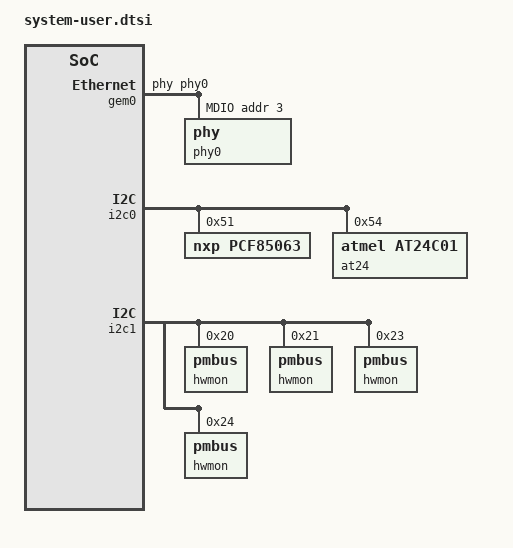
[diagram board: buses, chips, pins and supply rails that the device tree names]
/include/ "system-conf.dtsi"
/ {
};
/{
  chosen {
          bootargs = "console=ttyPS0,115200 earlyprintk root=/dev/mmcblk0p2 rw rootwait uio_pdrv_genirq.of_id=\"generic-uio\"";
  };
};
&gem0 {
            phy-handle = <&phy0>;
            ps7_ethernet_0_mdio: mdio {
                 phy0: phy@3 {
//                    compatible = "micrel,ksz9031";
                    device_type = "ethernet-phy";
                    reg = <3>;
                 }; 
            };
};
&flash0 {
   compatible = "s25fl512s";
   spi-tx-bus-width = <0x1>;
   spi-rx-bus-width = <0x4>;
};
&i2c0 {
	status = "okay";
        // RTC on the enclustra board
	pcf85063: pcf85063@51 {
		status = "okay";
		compatible = "nxp,pcf85063";
		reg = <0x51>;
	};
        // eeprom on YUGE
        at24@84 {
                status = "okay";
                compatible = "atmel,at24c01";
                reg = <0x54>;
        };
};
&i2c1 {
       status = "okay";
       // various i2c power supplies, use generic drivers
       // these are the ones directly connected to the Zynq
       // select via AXI registers
       // will need to update for devices off FPGA
       hwmon@32 {
                status = "okay";
                compatible = "pmbus";
                reg = <32>;
       };
       hwmon@33 {
                status = "okay";
                compatible = "pmbus";
                reg = <33>;
       };
       hwmon@35 {
                status = "okay";
                compatible = "pmbus";
                reg = <35>;
       };
       hwmon@36 {
                status = "okay";
                compatible = "pmbus";
                reg = <36>;
       };
};
// virtual cable
&axi_jtag {
    compatible = "generic-uio";
};
